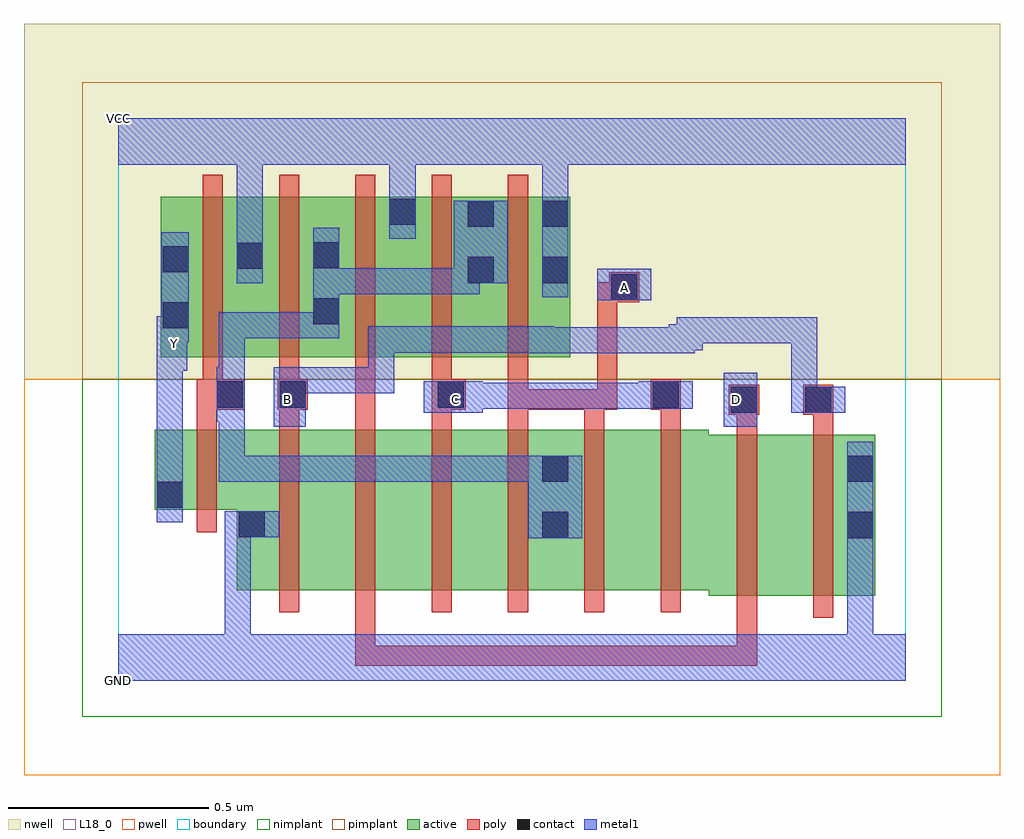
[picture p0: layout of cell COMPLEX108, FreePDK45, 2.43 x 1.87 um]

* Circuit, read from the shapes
.subckt COMPLEX108 A B C D GND VCC Y
M1 GND n1 Y VSUBS nfet w=0.2u l=0.05u
M2 n2 B GND VSUBS nfet w=0.4u l=0.05u
M3 n3 D n2 VSUBS nfet w=0.4u l=0.05u
M4 n4 C n3 VSUBS nfet w=0.4u l=0.05u
M5 n1 A n4 VSUBS nfet w=0.4u l=0.05u
M6 n5 A n1 VSUBS nfet w=0.4u l=0.05u
M7 n6 C n5 VSUBS nfet w=0.4u l=0.05u
M8 n7 D n6 VSUBS nfet w=0.4u l=0.05u
M9 GND B n7 VSUBS nfet w=0.4u l=0.05u
M10 VCC n1 Y n8 pfet w=0.4u l=0.05u
M11 n1 B VCC n8 pfet w=0.4u l=0.05u
M12 VCC D n1 n8 pfet w=0.4u l=0.05u
M13 n1 C VCC n8 pfet w=0.4u l=0.05u
M14 VCC A n1 n8 pfet w=0.4u l=0.05u
.ends

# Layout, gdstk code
import gdstk
lib = gdstk.Library(unit=1e-6, precision=1e-09)
def R(c, l, rs):  # rectangles x0, y0, x1, y1
    for r in rs: c.add(gdstk.rectangle(r[:2], r[2:], *l))
def A(c, l, x, y, w, h, nx, ny, dx, dy):  # array of equal rectangles
    R(c, l, [(x+i*dx, y+j*dy, x+i*dx+w, y+j*dy+h) for i in range(nx) for j in range(ny)])
active = (1, 0)
pwell = (2, 0)
nwell = (3, 0)
nimplant = (4, 0)
pimplant = (5, 0)
poly = (9, 0)
contact = (10, 0)
metal1 = (11, 0)
L18_0 = (18, 0)
boundary = (235, 0)

complex108 = lib.new_cell('COMPLEX108')
R(complex108, active, [(1.47,0.212,1.66,0.612), (1.66,0.212,1.885,0.612), (0.295,0.225,0.52,0.625), (0.295,0.225,0.37,0.597), (0.52,0.225,0.71,0.625), (0.71,0.225,0.9,0.625), (0.9,0.225,1.125,0.625), (1.05,0.225,1.28,0.625), (1.28,0.225,1.47,0.625), (1.05,0.295,1.125,0.617), (1.81,0.295,1.885,0.612), (0.09,0.425,0.37,0.625), (0.09,0.425,0.165,0.625), (0.105,0.805,0.365,1.205), (0.105,0.805,0.18,1.2), (0.29,0.805,0.555,1.205), (0.48,0.805,0.745,1.205), (0.48,0.805,0.555,1.2), (0.67,0.805,0.94,1.205), (0.865,0.805,1.125,1.205), (1.05,0.805,1.125,1.205), (0.29,0.907,0.365,1.205), (0.67,0.907,0.745,1.205), (0.865,0.907,0.94,1.2)])
R(complex108, pwell, [(-0.235,-0.235,2.195,0.75)])
R(complex108, nwell, [(-0.235,0.75,2.195,1.635)])
R(complex108, nimplant, [(-0.09,-0.09,2.05,0.75)])
R(complex108, pimplant, [(-0.09,0.75,2.05,1.49)])
A(complex108, poly, 0.59, 0.17, 0.05, 0.51, 5, 1, 0.19, 0)
A(complex108, poly, 0.59, 0.63, 0.05, 0.095, 5, 1, 0.19, 0)
A(complex108, poly, 0.21, 0.75, 0.05, 0.51, 5, 1, 0.19, 0)
R(complex108, poly, [(0.59,0.037,0.64,0.087), (0.59,0.037,0.64,0.087), (0.59,0.037,0.64,0.087), (0.59,0.037,0.887,0.087), (0.59,0.037,0.64,0.22), (0.837,0.037,0.887,0.087), (0.837,0.037,0.887,0.087), (0.837,0.037,0.887,0.087), (0.837,0.037,1.02,0.087), (0.97,0.037,1.02,0.087), (0.97,0.037,1.02,0.087), (0.97,0.037,1.02,0.087), (0.97,0.037,1.242,0.087), (1.192,0.037,1.242,0.087), (1.192,0.037,1.242,0.087), (1.192,0.037,1.242,0.087), (1.192,0.037,1.375,0.087), (1.325,0.037,1.375,0.087), (1.325,0.037,1.59,0.087), (1.54,0.037,1.59,0.207), (1.54,0.037,1.59,0.087), (1.54,0.037,1.59,0.087), (1.54,0.037,1.59,0.087), (1.54,0.157,1.59,0.667), (1.73,0.157,1.78,0.667), (0.4,0.17,0.45,0.725), (0.195,0.37,0.245,0.68), (1.54,0.617,1.59,0.712), (1.73,0.617,1.78,0.712), (0.195,0.63,0.245,0.725), (1.52,0.662,1.595,0.737), (1.705,0.662,1.78,0.737), (0.195,0.675,0.315,0.75), (0.397,0.675,0.472,0.75), (0.4,0.675,0.45,0.725), (0.59,0.675,0.64,0.725), (0.59,0.675,0.64,0.8), (0.78,0.675,0.865,0.75), (0.97,0.675,1.02,0.725), (0.97,0.675,1.02,0.725), (0.97,0.675,1.02,0.725), (0.97,0.675,1.21,0.725), (0.97,0.675,1.02,0.8), (1.16,0.675,1.242,0.725), (1.192,0.675,1.242,0.992), (1.325,0.675,1.4,0.75), (0.21,0.7,0.26,0.8), (0.4,0.7,0.45,0.8), (0.78,0.7,0.83,0.8), (1.192,0.942,1.272,0.992), (1.222,0.942,1.297,1.017), (1.222,0.942,1.272,0.992)])
R(complex108, contact, [(1.055,0.355,1.12,0.42), (1.815,0.355,1.88,0.42), (0.3,0.357,0.365,0.422), (0.095,0.43,0.16,0.495), (1.055,0.495,1.12,0.56), (1.815,0.495,1.88,0.56), (1.525,0.667,1.59,0.732), (1.71,0.667,1.775,0.732), (0.245,0.68,0.31,0.745), (0.402,0.68,0.467,0.745), (0.795,0.68,0.86,0.745), (1.33,0.68,1.395,0.745), (0.11,0.877,0.175,0.942), (0.485,0.887,0.55,0.952), (1.227,0.947,1.292,1.012), (0.87,0.99,0.935,1.055), (1.055,0.99,1.12,1.055), (0.11,1.017,0.175,1.082), (0.295,1.025,0.36,1.09), (0.485,1.027,0.55,1.092), (0.87,1.13,0.935,1.195), (1.055,1.13,1.12,1.195), (0.675,1.135,0.74,1.2)])
R(complex108, metal1, [(0,0,1.96,0.115), (0.265,0.05,0.33,0.115), (0.265,0.05,0.33,0.115), (0.265,0.05,0.33,0.422), (1.815,0.05,1.88,0.385), (1.815,0.05,1.88,0.115), (1.815,0.05,1.88,0.115), (1.815,0.32,1.88,0.595), (1.02,0.355,1.155,0.56), (0.265,0.357,0.4,0.422), (0.095,0.395,0.16,0.53), (0.095,0.465,0.16,0.837), (0.25,0.495,0.315,0.56), (0.25,0.495,0.55,0.56), (0.25,0.495,0.315,0.71), (0.485,0.495,0.55,0.56), (0.485,0.495,0.55,0.56), (0.485,0.495,0.55,0.56), (0.485,0.495,0.687,0.56), (0.622,0.495,0.687,0.56), (0.622,0.495,0.687,0.56), (0.622,0.495,0.687,0.56), (0.622,0.495,0.825,0.56), (0.76,0.495,0.825,0.56), (0.76,0.495,0.825,0.56), (0.76,0.495,0.825,0.56), (0.76,0.495,1.085,0.56), (1.02,0.495,1.085,0.56), (1.02,0.495,1.085,0.56), (0.387,0.632,0.467,0.78), (1.507,0.632,1.59,0.767), (0.245,0.645,0.31,0.78), (0.245,0.645,0.315,0.71), (0.25,0.645,0.315,0.71), (0.25,0.645,0.315,0.917), (0.76,0.667,0.907,0.745), (1.675,0.667,1.74,0.732), (1.675,0.667,1.74,0.732), (1.675,0.667,1.81,0.732), (1.675,0.667,1.74,0.905), (0.842,0.677,0.907,0.742), (0.842,0.677,0.907,0.742), (0.842,0.677,1.085,0.742), (1.02,0.677,1.085,0.742), (1.02,0.677,1.085,0.742), (1.02,0.677,1.085,0.742), (1.02,0.677,1.222,0.742), (1.157,0.677,1.222,0.742), (1.157,0.677,1.222,0.742), (1.157,0.677,1.222,0.742), (1.157,0.677,1.36,0.742), (1.295,0.677,1.43,0.745), (0.402,0.715,0.467,0.78), (0.402,0.715,0.467,0.78), (0.402,0.715,0.687,0.78), (0.622,0.715,0.687,0.78), (0.622,0.715,0.687,0.78), (0.622,0.715,0.687,0.78), (0.622,0.715,0.687,0.882), (0.095,0.772,0.172,0.907), (1.02,0.815,1.085,0.88), (1.02,0.815,1.085,0.88), (1.02,0.815,1.222,0.88), (1.02,0.815,1.085,0.882), (1.157,0.815,1.222,0.88), (1.157,0.815,1.222,0.88), (1.157,0.815,1.222,0.88), (1.157,0.815,1.435,0.88), (1.37,0.815,1.435,0.887), (0.622,0.817,0.687,0.882), (0.622,0.817,0.825,0.882), (0.76,0.817,0.825,0.882), (0.76,0.817,0.825,0.882), (0.76,0.817,0.825,0.882), (0.76,0.817,1.085,0.882), (1.37,0.822,1.455,0.887), (1.39,0.822,1.455,0.905), (1.39,0.84,1.572,0.905), (1.507,0.84,1.572,0.905), (1.507,0.84,1.74,0.905), (1.675,0.84,1.74,0.905), (0.107,0.842,0.172,0.907), (0.107,0.842,0.175,1.117), (0.25,0.852,0.315,0.917), (0.25,0.852,0.55,0.917), (0.485,0.852,0.55,1.127), (0.485,0.852,0.55,0.917), (0.485,0.852,0.55,0.917), (1.192,0.947,1.327,1.025), (1.055,0.955,1.12,1.23), (0.485,0.962,0.55,1.027), (0.485,0.962,0.687,1.027), (0.485,0.962,0.55,1.127), (0.622,0.962,0.687,1.027), (0.622,0.962,0.687,1.027), (0.622,0.962,0.687,1.027), (0.622,0.962,0.9,1.027), (0.835,0.962,0.9,1.055), (0.295,0.99,0.36,1.125), (0.835,0.99,0.9,1.055), (0.835,0.99,0.97,1.195), (0.295,1.06,0.36,1.35), (0.675,1.1,0.74,1.235), (1.055,1.165,1.12,1.35), (0.675,1.17,0.74,1.35), (0,1.285,1.96,1.4)])
R(complex108, L18_0, [(0,0,1.96,0.115), (0.265,0.05,0.33,0.422), (0.265,0.05,0.33,0.115), (0.265,0.05,0.33,0.115), (1.815,0.05,1.88,0.115), (1.815,0.05,1.88,0.115), (1.815,0.05,1.88,0.385), (1.815,0.32,1.88,0.595), (0.265,0.357,0.4,0.422), (0.095,0.395,0.16,0.53), (0.095,0.465,0.16,0.837), (0.387,0.632,0.467,0.78), (1.507,0.632,1.59,0.767), (0.387,0.667,0.452,0.732), (0.76,0.667,0.907,0.745), (0.807,0.667,0.872,0.732), (1.507,0.667,1.572,0.732), (1.675,0.667,1.74,0.732), (1.675,0.667,1.74,0.732), (1.675,0.667,1.81,0.732), (1.675,0.667,1.74,0.905), (0.842,0.677,0.907,0.742), (0.842,0.677,0.907,0.742), (0.842,0.677,1.085,0.742), (1.02,0.677,1.085,0.742), (1.02,0.677,1.085,0.742), (1.02,0.677,1.085,0.742), (1.02,0.677,1.222,0.742), (1.157,0.677,1.222,0.742), (1.157,0.677,1.222,0.742), (1.157,0.677,1.222,0.742), (1.157,0.677,1.36,0.742), (1.295,0.677,1.43,0.745), (0.402,0.715,0.467,0.78), (0.402,0.715,0.467,0.78), (0.402,0.715,0.687,0.78), (0.622,0.715,0.687,0.78), (0.622,0.715,0.687,0.78), (0.622,0.715,0.687,0.78), (0.622,0.715,0.687,0.882), (0.095,0.772,0.172,0.907), (0.107,0.807,0.172,0.872), (1.02,0.815,1.085,0.88), (1.02,0.815,1.085,0.88), (1.02,0.815,1.085,0.882), (1.02,0.815,1.222,0.88), (1.157,0.815,1.222,0.88), (1.157,0.815,1.222,0.88), (1.157,0.815,1.222,0.88), (1.157,0.815,1.435,0.88), (1.37,0.815,1.435,0.887), (0.622,0.817,0.687,0.882), (0.622,0.817,0.825,0.882), (0.76,0.817,0.825,0.882), (0.76,0.817,0.825,0.882), (0.76,0.817,0.825,0.882), (0.76,0.817,1.085,0.882), (1.37,0.822,1.455,0.887), (1.39,0.822,1.455,0.905), (1.39,0.84,1.572,0.905), (1.507,0.84,1.572,0.905), (1.507,0.84,1.74,0.905), (1.675,0.84,1.74,0.905), (0.107,0.842,0.175,1.117), (0.107,0.842,0.172,0.907), (1.192,0.947,1.327,1.025), (1.227,0.947,1.292,1.012), (1.055,0.955,1.12,1.23), (0.295,0.99,0.36,1.125), (0.295,1.06,0.36,1.35), (0.675,1.1,0.74,1.235), (1.055,1.165,1.12,1.35), (0.675,1.17,0.74,1.35), (0,1.285,1.96,1.4)])
R(complex108, boundary, [(0,0,1.96,1.4)])
complex108.add(gdstk.Label('A', (1.26,0.98), layer=11, texttype=0))
complex108.add(gdstk.Label('B', (0.42,0.7), layer=11, texttype=0))
complex108.add(gdstk.Label('C', (0.84,0.7), layer=11, texttype=0))
complex108.add(gdstk.Label('D', (1.54,0.7), layer=11, texttype=0))
complex108.add(gdstk.Label('Y', (0.14,0.84), layer=11, texttype=0))
complex108.add(gdstk.Label('VCC', (0,1.4), layer=11, texttype=0))
complex108.add(gdstk.Label('GND', (0,0), layer=11, texttype=0))

lib.write_gds('COMPLEX108.gds')
